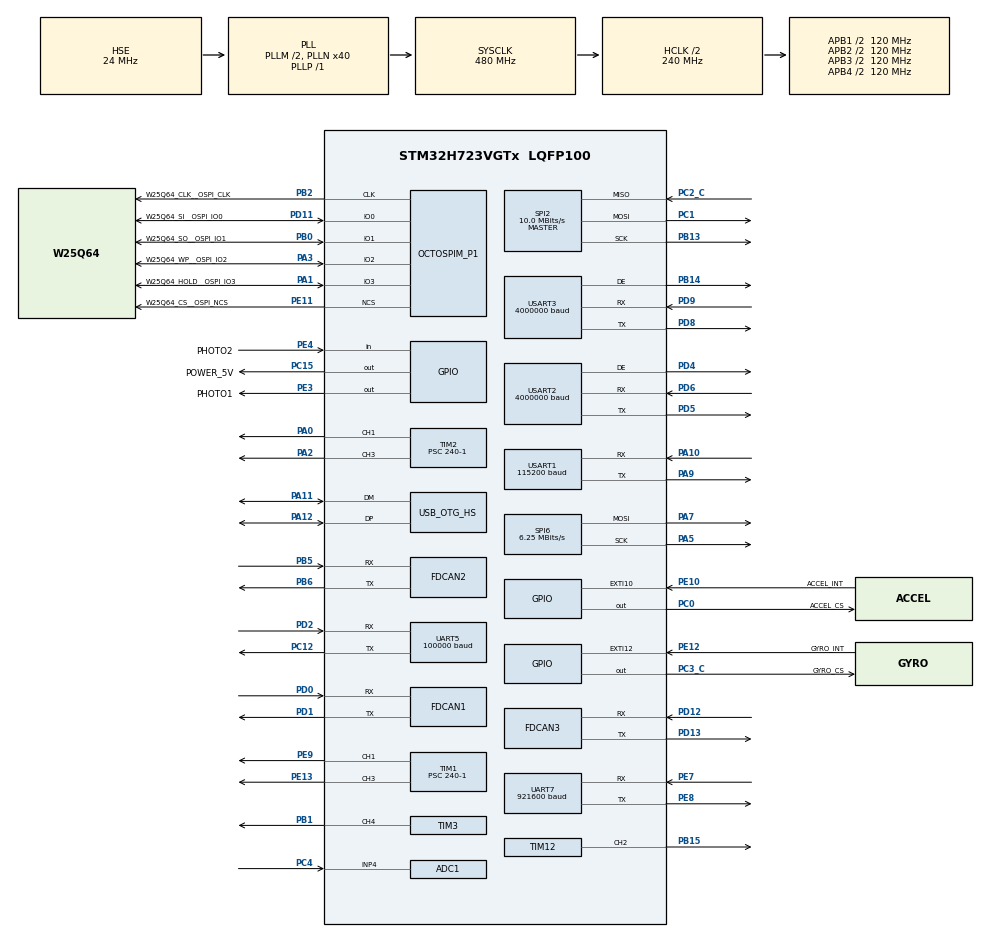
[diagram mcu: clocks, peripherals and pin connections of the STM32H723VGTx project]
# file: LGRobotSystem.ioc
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ADC1.Channel-2\#ChannelRegularConversion=ADC_CHANNEL_4
ADC1.Channel-3\#ChannelRegularConversion=ADC_CHANNEL_4
ADC1.ClockPrescaler=ADC_CLOCK_ASYNC_DIV64
ADC1.ClockPrescalerADC3=ADC_CLOCK_SYNC_PCLK_DIV4
ADC1.ContinuousConvMode=ENABLE
ADC1.ConversionDataManagement=ADC_CONVERSIONDATA_DMA_CIRCULAR
ADC1.NbrOfConversion=2
ADC1.NbrOfConversionFlag=1
ADC1.OffsetNumber-2\#ChannelRegularConversion=ADC_OFFSET_NONE
ADC1.OffsetNumber-3\#ChannelRegularConversion=ADC_OFFSET_NONE
ADC1.OffsetSignedSaturation-2\#ChannelRegularConversion=DISABLE
ADC1.OffsetSignedSaturation-3\#ChannelRegularConversion=DISABLE
ADC1.Rank-2\#ChannelRegularConversion=1
ADC1.Rank-3\#ChannelRegularConversion=2
ADC1.SamplingTime-2\#ChannelRegularConversion=ADC_SAMPLETIME_32CYCLES_5
ADC1.SamplingTime-3\#ChannelRegularConversion=ADC_SAMPLETIME_1CYCLE_5
ADC1.master=1
ADC3.Channel-0\#ChannelRegularConversion=ADC_CHANNEL_TEMPSENSOR
ADC3.ClockPrescalerADC3=ADC_CLOCK_SYNC_PCLK_DIV4
ADC3.DiscontinuousConvMode=ENABLE
ADC3.NbrOfConversionFlag=1
ADC3.OffsetNumber-0\#ChannelRegularConversion=ADC_OFFSET_NONE
ADC3.OffsetSign-0\#ChannelRegularConversion=ADC3_OFFSET_SIGN_NEGATIVE
ADC3.Rank-0\#ChannelRegularConversion=1
ADC3.SamplingTime-0\#ChannelRegularConversion=ADC3_SAMPLETIME_2CYCLES_5
Bdma.ADC3.0.Direction=DMA_PERIPH_TO_MEMORY
Bdma.ADC3.0.EventEnable=DISABLE
Bdma.ADC3.0.Instance=BDMA_Channel0
Bdma.ADC3.0.MemDataAlignment=DMA_MDATAALIGN_HALFWORD
Bdma.ADC3.0.MemInc=DMA_MINC_ENABLE
Bdma.ADC3.0.Mode=DMA_CIRCULAR
Bdma.ADC3.0.PeriphDataAlignment=DMA_PDATAALIGN_HALFWORD
Bdma.ADC3.0.PeriphInc=DMA_PINC_DISABLE
Bdma.ADC3.0.Polarity=HAL_DMAMUX_REQ_GEN_RISING
Bdma.ADC3.0.Priority=DMA_PRIORITY_LOW
Bdma.ADC3.0.RequestNumber=1
Bdma.ADC3.0.SignalID=NONE
Bdma.ADC3.0.SyncEnable=DISABLE
Bdma.ADC3.0.SyncPolarity=HAL_DMAMUX_SYNC_NO_EVENT
Bdma.ADC3.0.SyncRequestNumber=1
Bdma.ADC3.0.SyncSignalID=NONE
Bdma.Request0=ADC3
Bdma.Request1=SPI6_TX
Bdma.RequestsNb=2
Bdma.SPI6_TX.1.Direction=DMA_MEMORY_TO_PERIPH
Bdma.SPI6_TX.1.EventEnable=DISABLE
Bdma.SPI6_TX.1.Instance=BDMA_Channel1
Bdma.SPI6_TX.1.MemDataAlignment=DMA_MDATAALIGN_BYTE
Bdma.SPI6_TX.1.MemInc=DMA_MINC_ENABLE
Bdma.SPI6_TX.1.Mode=DMA_NORMAL
Bdma.SPI6_TX.1.PeriphDataAlignment=DMA_PDATAALIGN_BYTE
Bdma.SPI6_TX.1.PeriphInc=DMA_PINC_DISABLE
Bdma.SPI6_TX.1.Polarity=HAL_DMAMUX_REQ_GEN_RISING
Bdma.SPI6_TX.1.Priority=DMA_PRIORITY_LOW
Bdma.SPI6_TX.1.RequestNumber=1
Bdma.SPI6_TX.1.SignalID=NONE
Bdma.SPI6_TX.1.SyncEnable=DISABLE
Bdma.SPI6_TX.1.SyncPolarity=HAL_DMAMUX_SYNC_NO_EVENT
Bdma.SPI6_TX.1.SyncRequestNumber=1
Bdma.SPI6_TX.1.SyncSignalID=NONE
CORTEX_M7.AccessPermission-Cortex_Memory_Protection_Unit_Region0_Settings=MPU_REGION_FULL_ACCESS
CORTEX_M7.AccessPermission_S-Cortex_Memory_Protection_Unit_Region1_Settings_S=MPU_REGION_FULL_ACCESS
CORTEX_M7.AccessPermission_Spec=MPU_REGION_FULL_ACCESS
CORTEX_M7.BaseAddress-Cortex_Memory_Protection_Unit_Region0_Settings=0x24000000
CORTEX_M7.BaseAddress_S-Cortex_Memory_Protection_Unit_Region1_Settings_S=0x70000000 
CORTEX_M7.BaseAddress_Spec=0x24000000
CORTEX_M7.CPU_DCache=Enabled
CORTEX_M7.CPU_ICache=Enabled
CORTEX_M7.DisableExec_Spec=MPU_INSTRUCTION_ACCESS_ENABLE
CORTEX_M7.Enable-Cortex_Memory_Protection_Unit_Region0_Settings=MPU_REGION_ENABLE
CORTEX_M7.Enable_S-Cortex_Memory_Protection_Unit_Region1_Settings_S=MPU_REGION_ENABLE
CORTEX_M7.IsBufferable_Spec=MPU_ACCESS_NOT_BUFFERABLE
CORTEX_M7.IsCacheable_Spec=MPU_ACCESS_NOT_CACHEABLE
CORTEX_M7.IsShareable_Spec=MPU_ACCESS_NOT_SHAREABLE
CORTEX_M7.MPU_Control=MPU_HFNMI_PRIVDEF
CORTEX_M7.Size-Cortex_Memory_Protection_Unit_Region0_Settings=MPU_REGION_SIZE_512KB
CORTEX_M7.Size_S-Cortex_Memory_Protection_Unit_Region1_Settings_S=MPU_REGION_SIZE_256MB
CORTEX_M7.Size_Spec=MPU_REGION_SIZE_512KB
CORTEX_M7.SubRegionDisable_Spec=0x0
CORTEX_M7.TypeExtField-Cortex_Memory_Protection_Unit_Region0_Settings=MPU_TEX_LEVEL1
CORTEX_M7.TypeExtField_S-Cortex_Memory_Protection_Unit_Region1_Settings_S=MPU_TEX_LEVEL1
CORTEX_M7.TypeExtField_Spec=MPU_TEX_LEVEL1
CORTEX_M7.default_mode_Activation=1
Dma.ADC1.12.Direction=DMA_PERIPH_TO_MEMORY
Dma.ADC1.12.EventEnable=DISABLE
Dma.ADC1.12.FIFOMode=DMA_FIFOMODE_DISABLE
Dma.ADC1.12.Instance=DMA2_Stream6
Dma.ADC1.12.MemDataAlignment=DMA_MDATAALIGN_HALFWORD
Dma.ADC1.12.MemInc=DMA_MINC_ENABLE
Dma.ADC1.12.Mode=DMA_CIRCULAR
Dma.ADC1.12.PeriphDataAlignment=DMA_PDATAALIGN_HALFWORD
Dma.ADC1.12.PeriphInc=DMA_PINC_DISABLE
Dma.ADC1.12.Polarity=HAL_DMAMUX_REQ_GEN_RISING
Dma.ADC1.12.Priority=DMA_PRIORITY_LOW
Dma.ADC1.12.RequestNumber=1
Dma.ADC1.12.SignalID=NONE
Dma.ADC1.12.SyncEnable=DISABLE
Dma.ADC1.12.SyncPolarity=HAL_DMAMUX_SYNC_NO_EVENT
Dma.ADC1.12.SyncRequestNumber=1
Dma.ADC1.12.SyncSignalID=NONE
Dma.MEMTOMEM.11.Direction=DMA_MEMORY_TO_MEMORY
Dma.MEMTOMEM.11.EventEnable=DISABLE
Dma.MEMTOMEM.11.FIFOMode=DMA_FIFOMODE_ENABLE
Dma.MEMTOMEM.11.FIFOThreshold=DMA_FIFO_THRESHOLD_FULL
Dma.MEMTOMEM.11.Instance=DMA1_Stream0
Dma.MEMTOMEM.11.MemBurst=DMA_MBURST_SINGLE
Dma.MEMTOMEM.11.MemDataAlignment=DMA_MDATAALIGN_BYTE
Dma.MEMTOMEM.11.MemInc=DMA_MINC_ENABLE
Dma.MEMTOMEM.11.Mode=DMA_NORMAL
Dma.MEMTOMEM.11.PeriphBurst=DMA_PBURST_SINGLE
Dma.MEMTOMEM.11.PeriphDataAlignment=DMA_PDATAALIGN_BYTE
Dma.MEMTOMEM.11.PeriphInc=DMA_PINC_ENABLE
Dma.MEMTOMEM.11.Polarity=HAL_DMAMUX_REQ_GEN_RISING
Dma.MEMTOMEM.11.Priority=DMA_PRIORITY_LOW
Dma.MEMTOMEM.11.RequestNumber=1
Dma.MEMTOMEM.11.SignalID=NONE
Dma.MEMTOMEM.11.SyncEnable=DISABLE
Dma.MEMTOMEM.11.SyncPolarity=HAL_DMAMUX_SYNC_NO_EVENT
Dma.MEMTOMEM.11.SyncRequestNumber=1
Dma.MEMTOMEM.11.SyncSignalID=NONE
Dma.Request0=UART5_RX
Dma.Request1=SPI2_RX
Dma.Request10=USART3_TX
Dma.Request11=MEMTOMEM
Dma.Request12=ADC1
Dma.Request2=SPI2_TX
Dma.Request3=UART7_RX
Dma.Request4=UART7_TX
Dma.Request5=USART1_RX
Dma.Request6=USART1_TX
Dma.Request7=USART2_RX
Dma.Request8=USART2_TX
Dma.Request9=USART3_RX
Dma.SPI2_RX.1.Direction=DMA_PERIPH_TO_MEMORY
Dma.SPI2_RX.1.EventEnable=DISABLE
Dma.SPI2_RX.1.FIFOMode=DMA_FIFOMODE_DISABLE
Dma.SPI2_RX.1.Instance=DMA1_Stream1
Dma.SPI2_RX.1.MemDataAlignment=DMA_MDATAALIGN_BYTE
Dma.SPI2_RX.1.MemInc=DMA_MINC_ENABLE
Dma.SPI2_RX.1.Mode=DMA_NORMAL
Dma.SPI2_RX.1.PeriphDataAlignment=DMA_PDATAALIGN_BYTE
Dma.SPI2_RX.1.PeriphInc=DMA_PINC_DISABLE
Dma.SPI2_RX.1.Polarity=HAL_DMAMUX_REQ_GEN_RISING
Dma.SPI2_RX.1.Priority=DMA_PRIORITY_VERY_HIGH
Dma.SPI2_RX.1.RequestNumber=1
Dma.SPI2_RX.1.SignalID=NONE
Dma.SPI2_RX.1.SyncEnable=DISABLE
Dma.SPI2_RX.1.SyncPolarity=HAL_DMAMUX_SYNC_NO_EVENT
Dma.SPI2_RX.1.SyncRequestNumber=1
Dma.SPI2_RX.1.SyncSignalID=NONE
Dma.SPI2_TX.2.Direction=DMA_MEMORY_TO_PERIPH
Dma.SPI2_TX.2.EventEnable=DISABLE
Dma.SPI2_TX.2.FIFOMode=DMA_FIFOMODE_DISABLE
Dma.SPI2_TX.2.Instance=DMA1_Stream2
Dma.SPI2_TX.2.MemDataAlignment=DMA_MDATAALIGN_BYTE
Dma.SPI2_TX.2.MemInc=DMA_MINC_ENABLE
Dma.SPI2_TX.2.Mode=DMA_NORMAL
Dma.SPI2_TX.2.PeriphDataAlignment=DMA_PDATAALIGN_BYTE
Dma.SPI2_TX.2.PeriphInc=DMA_PINC_DISABLE
Dma.SPI2_TX.2.Polarity=HAL_DMAMUX_REQ_GEN_RISING
Dma.SPI2_TX.2.Priority=DMA_PRIORITY_MEDIUM
Dma.SPI2_TX.2.RequestNumber=1
Dma.SPI2_TX.2.SignalID=NONE
Dma.SPI2_TX.2.SyncEnable=DISABLE
Dma.SPI2_TX.2.SyncPolarity=HAL_DMAMUX_SYNC_NO_EVENT
Dma.SPI2_TX.2.SyncRequestNumber=1
Dma.SPI2_TX.2.SyncSignalID=NONE
Dma.UART5_RX.0.Direction=DMA_PERIPH_TO_MEMORY
Dma.UART5_RX.0.EventEnable=DISABLE
Dma.UART5_RX.0.FIFOMode=DMA_FIFOMODE_DISABLE
Dma.UART5_RX.0.Instance=DMA2_Stream3
Dma.UART5_RX.0.MemDataAlignment=DMA_MDATAALIGN_BYTE
Dma.UART5_RX.0.MemInc=DMA_MINC_ENABLE
Dma.UART5_RX.0.Mode=DMA_CIRCULAR
Dma.UART5_RX.0.PeriphDataAlignment=DMA_PDATAALIGN_BYTE
Dma.UART5_RX.0.PeriphInc=DMA_PINC_DISABLE
Dma.UART5_RX.0.Polarity=HAL_DMAMUX_REQ_GEN_RISING
Dma.UART5_RX.0.Priority=DMA_PRIORITY_VERY_HIGH
Dma.UART5_RX.0.RequestNumber=1
Dma.UART5_RX.0.SignalID=NONE
Dma.UART5_RX.0.SyncEnable=DISABLE
Dma.UART5_RX.0.SyncPolarity=HAL_DMAMUX_SYNC_NO_EVENT
Dma.UART5_RX.0.SyncRequestNumber=1
Dma.UART5_RX.0.SyncSignalID=NONE
Dma.UART7_RX.3.Direction=DMA_PERIPH_TO_MEMORY
Dma.UART7_RX.3.EventEnable=DISABLE
Dma.UART7_RX.3.FIFOMode=DMA_FIFOMODE_DISABLE
Dma.UART7_RX.3.Instance=DMA1_Stream3
Dma.UART7_RX.3.MemDataAlignment=DMA_MDATAALIGN_BYTE
Dma.UART7_RX.3.MemInc=DMA_MINC_ENABLE
Dma.UART7_RX.3.Mode=DMA_CIRCULAR
Dma.UART7_RX.3.PeriphDataAlignment=DMA_PDATAALIGN_BYTE
Dma.UART7_RX.3.PeriphInc=DMA_PINC_DISABLE
Dma.UART7_RX.3.Polarity=HAL_DMAMUX_REQ_GEN_RISING
Dma.UART7_RX.3.Priority=DMA_PRIORITY_LOW
Dma.UART7_RX.3.RequestNumber=1
Dma.UART7_RX.3.SignalID=NONE
Dma.UART7_RX.3.SyncEnable=DISABLE
Dma.UART7_RX.3.SyncPolarity=HAL_DMAMUX_SYNC_NO_EVENT
Dma.UART7_RX.3.SyncRequestNumber=1
Dma.UART7_RX.3.SyncSignalID=NONE
Dma.UART7_TX.4.Direction=DMA_MEMORY_TO_PERIPH
Dma.UART7_TX.4.EventEnable=DISABLE
Dma.UART7_TX.4.FIFOMode=DMA_FIFOMODE_DISABLE
Dma.UART7_TX.4.Instance=DMA1_Stream4
Dma.UART7_TX.4.MemDataAlignment=DMA_MDATAALIGN_BYTE
Dma.UART7_TX.4.MemInc=DMA_MINC_ENABLE
Dma.UART7_TX.4.Mode=DMA_NORMAL
Dma.UART7_TX.4.PeriphDataAlignment=DMA_PDATAALIGN_BYTE
Dma.UART7_TX.4.PeriphInc=DMA_PINC_DISABLE
Dma.UART7_TX.4.Polarity=HAL_DMAMUX_REQ_GEN_RISING
Dma.UART7_TX.4.Priority=DMA_PRIORITY_LOW
Dma.UART7_TX.4.RequestNumber=1
Dma.UART7_TX.4.SignalID=NONE
Dma.UART7_TX.4.SyncEnable=DISABLE
Dma.UART7_TX.4.SyncPolarity=HAL_DMAMUX_SYNC_NO_EVENT
Dma.UART7_TX.4.SyncRequestNumber=1
Dma.UART7_TX.4.SyncSignalID=NONE
Dma.USART1_RX.5.Direction=DMA_PERIPH_TO_MEMORY
Dma.USART1_RX.5.EventEnable=DISABLE
Dma.USART1_RX.5.FIFOMode=DMA_FIFOMODE_DISABLE
Dma.USART1_RX.5.Instance=DMA1_Stream5
Dma.USART1_RX.5.MemDataAlignment=DMA_MDATAALIGN_BYTE
Dma.USART1_RX.5.MemInc=DMA_MINC_ENABLE
Dma.USART1_RX.5.Mode=DMA_NORMAL
Dma.USART1_RX.5.PeriphDataAlignment=DMA_PDATAALIGN_BYTE
Dma.USART1_RX.5.PeriphInc=DMA_PINC_DISABLE
Dma.USART1_RX.5.Polarity=HAL_DMAMUX_REQ_GEN_RISING
Dma.USART1_RX.5.Priority=DMA_PRIORITY_VERY_HIGH
Dma.USART1_RX.5.RequestNumber=1
Dma.USART1_RX.5.SignalID=NONE
Dma.USART1_RX.5.SyncEnable=DISABLE
Dma.USART1_RX.5.SyncPolarity=HAL_DMAMUX_SYNC_NO_EVENT
Dma.USART1_RX.5.SyncRequestNumber=1
Dma.USART1_RX.5.SyncSignalID=NONE
Dma.USART1_TX.6.Direction=DMA_MEMORY_TO_PERIPH
Dma.USART1_TX.6.EventEnable=DISABLE
Dma.USART1_TX.6.FIFOMode=DMA_FIFOMODE_DISABLE
Dma.USART1_TX.6.Instance=DMA1_Stream6
Dma.USART1_TX.6.MemDataAlignment=DMA_MDATAALIGN_BYTE
Dma.USART1_TX.6.MemInc=DMA_MINC_ENABLE
Dma.USART1_TX.6.Mode=DMA_NORMAL
Dma.USART1_TX.6.PeriphDataAlignment=DMA_PDATAALIGN_BYTE
Dma.USART1_TX.6.PeriphInc=DMA_PINC_DISABLE
Dma.USART1_TX.6.Polarity=HAL_DMAMUX_REQ_GEN_RISING
Dma.USART1_TX.6.Priority=DMA_PRIORITY_VERY_HIGH
Dma.USART1_TX.6.RequestNumber=1
Dma.USART1_TX.6.SignalID=NONE
Dma.USART1_TX.6.SyncEnable=DISABLE
Dma.USART1_TX.6.SyncPolarity=HAL_DMAMUX_SYNC_NO_EVENT
Dma.USART1_TX.6.SyncRequestNumber=1
Dma.USART1_TX.6.SyncSignalID=NONE
Dma.USART2_RX.7.Direction=DMA_PERIPH_TO_MEMORY
Dma.USART2_RX.7.EventEnable=DISABLE
Dma.USART2_RX.7.FIFOMode=DMA_FIFOMODE_DISABLE
Dma.USART2_RX.7.Instance=DMA1_Stream7
Dma.USART2_RX.7.MemDataAlignment=DMA_MDATAALIGN_BYTE
Dma.USART2_RX.7.MemInc=DMA_MINC_ENABLE
Dma.USART2_RX.7.Mode=DMA_CIRCULAR
Dma.USART2_RX.7.PeriphDataAlignment=DMA_PDATAALIGN_BYTE
Dma.USART2_RX.7.PeriphInc=DMA_PINC_DISABLE
Dma.USART2_RX.7.Polarity=HAL_DMAMUX_REQ_GEN_RISING
Dma.USART2_RX.7.Priority=DMA_PRIORITY_MEDIUM
Dma.USART2_RX.7.RequestNumber=1
Dma.USART2_RX.7.SignalID=NONE
Dma.USART2_RX.7.SyncEnable=DISABLE
Dma.USART2_RX.7.SyncPolarity=HAL_DMAMUX_SYNC_NO_EVENT
Dma.USART2_RX.7.SyncRequestNumber=1
Dma.USART2_RX.7.SyncSignalID=NONE
Dma.USART2_TX.8.Direction=DMA_MEMORY_TO_PERIPH
Dma.USART2_TX.8.EventEnable=DISABLE
Dma.USART2_TX.8.FIFOMode=DMA_FIFOMODE_DISABLE
Dma.USART2_TX.8.Instance=DMA2_Stream0
Dma.USART2_TX.8.MemDataAlignment=DMA_MDATAALIGN_BYTE
Dma.USART2_TX.8.MemInc=DMA_MINC_ENABLE
Dma.USART2_TX.8.Mode=DMA_NORMAL
Dma.USART2_TX.8.PeriphDataAlignment=DMA_PDATAALIGN_BYTE
Dma.USART2_TX.8.PeriphInc=DMA_PINC_DISABLE
Dma.USART2_TX.8.Polarity=HAL_DMAMUX_REQ_GEN_RISING
Dma.USART2_TX.8.Priority=DMA_PRIORITY_MEDIUM
Dma.USART2_TX.8.RequestNumber=1
Dma.USART2_TX.8.SignalID=NONE
Dma.USART2_TX.8.SyncEnable=DISABLE
Dma.USART2_TX.8.SyncPolarity=HAL_DMAMUX_SYNC_NO_EVENT
Dma.USART2_TX.8.SyncRequestNumber=1
Dma.USART2_TX.8.SyncSignalID=NONE
Dma.USART3_RX.9.Direction=DMA_PERIPH_TO_MEMORY
Dma.USART3_RX.9.EventEnable=DISABLE
Dma.USART3_RX.9.FIFOMode=DMA_FIFOMODE_DISABLE
Dma.USART3_RX.9.Instance=DMA2_Stream1
Dma.USART3_RX.9.MemDataAlignment=DMA_MDATAALIGN_BYTE
Dma.USART3_RX.9.MemInc=DMA_MINC_ENABLE
Dma.USART3_RX.9.Mode=DMA_CIRCULAR
Dma.USART3_RX.9.PeriphDataAlignment=DMA_PDATAALIGN_BYTE
Dma.USART3_RX.9.PeriphInc=DMA_PINC_DISABLE
Dma.USART3_RX.9.Polarity=HAL_DMAMUX_REQ_GEN_RISING
Dma.USART3_RX.9.Priority=DMA_PRIORITY_MEDIUM
Dma.USART3_RX.9.RequestNumber=1
Dma.USART3_RX.9.SignalID=NONE
Dma.USART3_RX.9.SyncEnable=DISABLE
Dma.USART3_RX.9.SyncPolarity=HAL_DMAMUX_SYNC_NO_EVENT
Dma.USART3_RX.9.SyncRequestNumber=1
Dma.USART3_RX.9.SyncSignalID=NONE
Dma.USART3_TX.10.Direction=DMA_MEMORY_TO_PERIPH
Dma.USART3_TX.10.EventEnable=DISABLE
Dma.USART3_TX.10.FIFOMode=DMA_FIFOMODE_DISABLE
Dma.USART3_TX.10.Instance=DMA2_Stream2
Dma.USART3_TX.10.MemDataAlignment=DMA_MDATAALIGN_BYTE
Dma.USART3_TX.10.MemInc=DMA_MINC_ENABLE
Dma.USART3_TX.10.Mode=DMA_NORMAL
Dma.USART3_TX.10.PeriphDataAlignment=DMA_PDATAALIGN_BYTE
Dma.USART3_TX.10.PeriphInc=DMA_PINC_DISABLE
Dma.USART3_TX.10.Polarity=HAL_DMAMUX_REQ_GEN_RISING
Dma.USART3_TX.10.Priority=DMA_PRIORITY_MEDIUM
Dma.USART3_TX.10.RequestNumber=1
Dma.USART3_TX.10.SignalID=NONE
Dma.USART3_TX.10.SyncEnable=DISABLE
Dma.USART3_TX.10.SyncPolarity=HAL_DMAMUX_SYNC_NO_EVENT
Dma.USART3_TX.10.SyncRequestNumber=1
Dma.USART3_TX.10.SyncSignalID=NONE
FDCAN1.AutoRetransmission=ENABLE
FDCAN1.CalculateBaudRateNominal=1000000
FDCAN1.CalculateTimeBitNominal=1000
FDCAN1.CalculateTimeQuantumNominal=25.0
FDCAN1.ClockCalibrationCCU=DISABLE
FDCAN1.DataPrescaler=3
FDCAN1.DataSyncJumpWidth=10
FDCAN1.DataTimeSeg1=29
FDCAN1.DataTimeSeg2=10
FDCAN1.ExtFiltersNbr=0
FDCAN1.FrameFormat=FDCAN_FRAME_CLASSIC
FDCAN1.NominalPrescaler=3
FDCAN1.NominalSyncJumpWidth=10
FDCAN1.NominalTimeSeg1=29
FDCAN1.NominalTimeSeg2=10
FDCAN1.ProtocolException=DISABLE
FDCAN1.RxBufferSize=FDCAN_DATA_BYTES_8
FDCAN1.RxFifo0ElmtSize=FDCAN_DATA_BYTES_8
FDCAN1.RxFifo0ElmtsNbr=16
FDCAN1.RxFifo1ElmtSize=FDCAN_DATA_BYTES_8
FDCAN1.StdFiltersNbr=1
FDCAN1.TransmitPause=DISABLE
FDCAN1.TxElmtSize=FDCAN_DATA_BYTES_8
FDCAN1.TxFifoQueueElmtsNbr=8
FDCAN1.TxFifoQueueMode=FDCAN_TX_FIFO_OPERATION
FDCAN2.AutoRetransmission=ENABLE
FDCAN2.CalculateBaudRateNominal=1000000
FDCAN2.CalculateTimeBitNominal=1000
FDCAN2.CalculateTimeQuantumNominal=25.0
FDCAN2.DataPrescaler=3
FDCAN2.DataSyncJumpWidth=10
FDCAN2.DataTimeSeg1=29
FDCAN2.DataTimeSeg2=10
FDCAN2.FrameFormat=FDCAN_FRAME_CLASSIC
FDCAN2.MessageRAMOffset=853
FDCAN2.NominalPrescaler=3
FDCAN2.NominalSyncJumpWidth=10
FDCAN2.NominalTimeSeg1=29
FDCAN2.NominalTimeSeg2=10
FDCAN2.ProtocolException=DISABLE
FDCAN2.RxFifo0ElmtsNbr=0
FDCAN2.RxFifo1ElmtsNbr=16
FDCAN2.StdFiltersNbr=1
FDCAN2.TxFifoQueueElmtsNbr=8
FDCAN3.AutoRetransmission=ENABLE
FDCAN3.CalculateBaudRateNominal=1000000
FDCAN3.CalculateTimeBitNominal=1000
FDCAN3.CalculateTimeQuantumNominal=25.0
FDCAN3.DataPrescaler=3
FDCAN3.DataSyncJumpWidth=10
FDCAN3.DataTimeSeg1=29
FDCAN3.DataTimeSeg2=10
FDCAN3.FrameFormat=FDCAN_FRAME_CLASSIC
FDCAN3.MessageRAMOffset=1706
FDCAN3.NominalPrescaler=3
FDCAN3.NominalSyncJumpWidth=10
FDCAN3.NominalTimeSeg1=29
FDCAN3.NominalTimeSeg2=10
FDCAN3.ProtocolException=DISABLE
FDCAN3.RxFifo0ElmtsNbr=16
FDCAN3.StdFiltersNbr=1
FDCAN3.TxFifoQueueElmtsNbr=8
FREERTOS.INCLUDE_vTaskDelayUntil=1
FREERTOS.Tasks01=defaultTask,0,1024,StartDefaultTask,Default,NULL,Dynamic,NULL,NULL
FREERTOS.configCHECK_FOR_STACK_OVERFLOW=2
FREERTOS.configENABLE_FPU=1
FREERTOS.configMAX_TASK_NAME_LEN=32
FREERTOS.configMINIMAL_STACK_SIZE=128
FREERTOS.configRECORD_STACK_HIGH_ADDRESS=1
FREERTOS.configTOTAL_HEAP_SIZE=32768
FREERTOS.configUSE_MALLOC_FAILED_HOOK=1
FREERTOS.configUSE_NEWLIB_REENTRANT=1
FREERTOS.configUSE_STATS_FORMATTING_FUNCTIONS=1
Mcu.Family=STM32H7
Mcu.Name=STM32H723VGTx
Mcu.Package=LQFP100
Mdma.MDMA_Channel0.OCTOSPI2_FIFO_TH.0.BlockCount=0
Mdma.MDMA_Channel0.OCTOSPI2_FIFO_TH.0.BlockDataLength=0
Mdma.MDMA_Channel0.OCTOSPI2_FIFO_TH.0.BufferTransferLength=1
Mdma.MDMA_Channel0.OCTOSPI2_FIFO_TH.0.CircularMode=MDMA_LINEAR_LIST
Mdma.MDMA_Channel0.OCTOSPI2_FIFO_TH.0.DataAlignment=MDMA_DATAALIGN_PACKENABLE
Mdma.MDMA_Channel0.OCTOSPI2_FIFO_TH.0.DestBlockAddressOffset=0
Mdma.MDMA_Channel0.OCTOSPI2_FIFO_TH.0.DestBurst=MDMA_DEST_BURST_SINGLE
Mdma.MDMA_Channel0.OCTOSPI2_FIFO_TH.0.DestDataSize=MDMA_DEST_DATASIZE_BYTE
Mdma.MDMA_Channel0.OCTOSPI2_FIFO_TH.0.DestinationInc=MDMA_DEST_INC_BYTE
Mdma.MDMA_Channel0.OCTOSPI2_FIFO_TH.0.DstAddress=0
Mdma.MDMA_Channel0.OCTOSPI2_FIFO_TH.0.Endianness=MDMA_LITTLE_ENDIANNESS_PRESERVE
Mdma.MDMA_Channel0.OCTOSPI2_FIFO_TH.0.Instance=MDMA_Channel0
Mdma.MDMA_Channel0.OCTOSPI2_FIFO_TH.0.MaskAddress=0
Mdma.MDMA_Channel0.OCTOSPI2_FIFO_TH.0.MaskData=0
Mdma.MDMA_Channel0.OCTOSPI2_FIFO_TH.0.Priority=MDMA_PRIORITY_LOW
Mdma.MDMA_Channel0.OCTOSPI2_FIFO_TH.0.Rank=First
Mdma.MDMA_Channel0.OCTOSPI2_FIFO_TH.0.SourceBlockAddressOffset=0
Mdma.MDMA_Channel0.OCTOSPI2_FIFO_TH.0.SourceBurst=MDMA_SOURCE_BURST_SINGLE
Mdma.MDMA_Channel0.OCTOSPI2_FIFO_TH.0.SourceDataSize=MDMA_SRC_DATASIZE_BYTE
Mdma.MDMA_Channel0.OCTOSPI2_FIFO_TH.0.SourceInc=MDMA_SRC_INC_BYTE
Mdma.MDMA_Channel0.OCTOSPI2_FIFO_TH.0.SrcAddress=0
Mdma.MDMA_Channel0.OCTOSPI2_FIFO_TH.0.TransferTriggerMode=MDMA_BUFFER_TRANSFER
Mdma.MDMA_Channel0.Request0=OCTOSPI2_FIFO_TH
Mdma.MDMA_Channel0.RequestsNb=1
Mdma.RequestSet0=MDMA_Channel0
Mdma.RequestSetsNb=1
NVIC.BDMA_Channel0_IRQn=true\:5\:0\:false\:false\:true\:true\:false\:true\:true
NVIC.BDMA_Channel1_IRQn=true\:5\:0\:false\:false\:true\:true\:false\:true\:true
NVIC.DMA1_Stream0_IRQn=true\:5\:0\:false\:false\:true\:true\:false\:true\:true
NVIC.DMA1_Stream1_IRQn=true\:5\:0\:false\:false\:true\:true\:false\:true\:true
NVIC.DMA1_Stream2_IRQn=true\:5\:0\:false\:false\:true\:true\:false\:true\:true
NVIC.DMA1_Stream3_IRQn=true\:5\:0\:false\:false\:true\:true\:false\:true\:true
NVIC.DMA1_Stream4_IRQn=true\:5\:0\:false\:false\:true\:true\:false\:true\:true
NVIC.DMA1_Stream5_IRQn=true\:5\:0\:false\:false\:true\:true\:false\:true\:true
NVIC.DMA1_Stream6_IRQn=true\:5\:0\:false\:false\:true\:true\:false\:true\:true
NVIC.DMA1_Stream7_IRQn=true\:5\:0\:false\:false\:true\:true\:false\:true\:true
NVIC.DMA2_Stream0_IRQn=true\:5\:0\:false\:false\:true\:true\:false\:true\:true
NVIC.DMA2_Stream1_IRQn=true\:5\:0\:false\:false\:true\:true\:false\:true\:true
NVIC.DMA2_Stream2_IRQn=true\:5\:0\:false\:false\:true\:true\:false\:true\:true
NVIC.DMA2_Stream3_IRQn=true\:5\:0\:false\:false\:true\:true\:false\:true\:true
NVIC.DMA2_Stream6_IRQn=true\:5\:0\:false\:false\:true\:true\:false\:true\:true
NVIC.FDCAN1_IT0_IRQn=true\:5\:0\:false\:false\:true\:true\:true\:true\:true
NVIC.FDCAN1_IT1_IRQn=true\:5\:0\:false\:false\:true\:true\:true\:true\:true
NVIC.FDCAN2_IT0_IRQn=true\:5\:0\:false\:false\:true\:true\:true\:true\:true
NVIC.FDCAN2_IT1_IRQn=true\:5\:0\:false\:false\:true\:true\:true\:true\:true
NVIC.FDCAN3_IT0_IRQn=true\:5\:0\:false\:false\:true\:true\:true\:true\:true
NVIC.FDCAN3_IT1_IRQn=true\:5\:0\:false\:false\:true\:true\:true\:true\:true
NVIC.MDMA_IRQn=true\:5\:0\:false\:false\:true\:true\:false\:true\:true
NVIC.OCTOSPI2_IRQn=true\:5\:0\:false\:false\:true\:true\:true\:true\:true
NVIC.OTG_HS_IRQn=true\:5\:0\:false\:false\:true\:true\:true\:true\:true
NVIC.PriorityGroup=NVIC_PRIORITYGROUP_4
NVIC.SPI2_IRQn=true\:5\:0\:true\:false\:true\:true\:false\:true\:true
NVIC.SPI6_IRQn=true\:5\:0\:false\:false\:true\:true\:true\:true\:true
NVIC.TIM4_IRQn=true\:15\:0\:false\:false\:true\:false\:false\:true\:true
NVIC.TimeBase=TIM4_IRQn
NVIC.TimeBaseIP=TIM4
NVIC.UART5_IRQn=true\:5\:0\:false\:false\:true\:true\:true\:true\:true
NVIC.UART7_IRQn=true\:5\:0\:false\:false\:true\:true\:true\:true\:true
NVIC.USART1_IRQn=true\:5\:0\:false\:false\:true\:true\:true\:true\:true
NVIC.USART2_IRQn=true\:5\:0\:false\:false\:true\:true\:true\:true\:true
NVIC.USART3_IRQn=true\:5\:0\:false\:false\:true\:true\:true\:true\:true
OCTOSPI2.ClockMode=HAL_OSPI_CLOCK_MODE_3
OCTOSPI2.ClockPrescaler=2
OCTOSPI2.DeviceSize=23
OCTOSPI2.FifoThreshold=1
OCTOSPI2.SampleShifting=HAL_OSPI_SAMPLE_SHIFTING_HALFCYCLE
PA0.Signal=S_TIM2_CH1_ETR
PA1.GPIO_Label=W25Q64_HOLD__OSPI_IO3
PA1.Mode=OCTOSPI2_IOL_Port1L
PA1.Signal=OCTOSPIM_P1_IO3
PA10.Mode=Asynchronous
PA10.Signal=USART1_RX
PA11.Mode=Device_Only_FS
PA11.Signal=USB_OTG_HS_DM
PA12.Mode=Device_Only_FS
PA12.Signal=USB_OTG_HS_DP
PA13(JTMS/SWDIO).Mode=Serial_Wire
PA13(JTMS/SWDIO).Signal=DEBUG_JTMS-SWDIO
PA14(JTCK/SWCLK).Mode=Serial_Wire
PA14(JTCK/SWCLK).Signal=DEBUG_JTCK-SWCLK
PA2.Signal=S_TIM2_CH3
PA3.GPIO_Label=W25Q64_WP__OSPI_IO2
PA3.Mode=OCTOSPI2_IOL_Port1L
PA3.Signal=OCTOSPIM_P1_IO2
PA5.Mode=TX_Only_Simplex_Unidirect_Master
PA5.Signal=SPI6_SCK
PA7.Mode=TX_Only_Simplex_Unidirect_Master
PA7.Signal=SPI6_MOSI
PA9.Mode=Asynchronous
PA9.Signal=USART1_TX
PB0.GPIO_Label=W25Q64_SO__OSPI_IO1
PB0.Mode=OCTOSPI2_IOL_Port1L
PB0.Signal=OCTOSPIM_P1_IO1
PB1.Signal=S_TIM3_CH4
PB13.GPIO_Speed=GPIO_SPEED_FREQ_VERY_HIGH
PB13.Mode=Full_Duplex_Master
PB13.Signal=SPI2_SCK
PB14.Mode=Hardware Flow Control (RS485)
PB14.Signal=USART3_DE
PB15.Signal=S_TIM12_CH2
PB2.GPIO_Label=W25Q64_CLK__OSPI_CLK
PB2.Mode=O2_P1_CLK
PB2.Signal=OCTOSPIM_P1_CLK
PB5.Mode=FDCAN_Activate
PB5.Signal=FDCAN2_RX
PB6.GPIO_FM6=__NULL
PB6.Mode=FDCAN_Activate
PB6.Signal=FDCAN2_TX
PC0.GPIO_Label=ACCEL_CS
PC0.GPIO_PuPd=GPIO_NOPULL
PC0.GPIO_Speed=GPIO_SPEED_FREQ_MEDIUM
PC0.PinState=GPIO_PIN_SET
PC0.Signal=GPIO_Output
PC1.GPIO_Speed=GPIO_SPEED_FREQ_VERY_HIGH
PC1.Mode=Full_Duplex_Master
PC1.Signal=SPI2_MOSI
PC12.Mode=Asynchronous
PC12.Signal=UART5_TX
PC15-OSC32_OUT.GPIO_Label=POWER_5V
PC15-OSC32_OUT.Signal=GPIO_Output
PC15-OSC32_OUT.PinState=GPIO_PIN_SET
PC2_C.GPIO_Speed=GPIO_SPEED_FREQ_VERY_HIGH
PC2_C.Mode=Full_Duplex_Master
PC2_C.Signal=SPI2_MISO
PC3_C.GPIO_Label=GYRO_CS
PC3_C.GPIO_PuPd=GPIO_NOPULL
PC3_C.GPIO_Speed=GPIO_SPEED_FREQ_MEDIUM
PC3_C.PinState=GPIO_PIN_SET
PC3_C.Signal=GPIO_Output
PC4.Signal=ADCx_INP4
PD0.Mode=FDCAN_Activate
PD0.Signal=FDCAN1_RX
PD1.Mode=FDCAN_Activate
PD1.Signal=FDCAN1_TX
PD11.GPIO_Label=W25Q64_SI__OSPI_IO0
PD11.Mode=OCTOSPI2_IOL_Port1L
PD11.Signal=OCTOSPIM_P1_IO0
PD12.Mode=FDCAN_Activate
PD12.Signal=FDCAN3_RX
PD13.Mode=FDCAN_Activate
PD13.Signal=FDCAN3_TX
PD2.GPIO_Speed=GPIO_SPEED_FREQ_VERY_HIGH
PD2.Mode=Asynchronous
PD2.Signal=UART5_RX
PD4.Mode=Hardware Flow Control (RS485)
PD4.Signal=USART2_DE
PD5.Mode=Asynchronous
PD5.Signal=USART2_TX
PD6.Mode=Asynchronous
PD6.Signal=USART2_RX
PD8.Mode=Asynchronous
PD8.Signal=USART3_TX
PD9.Mode=Asynchronous
PD9.Signal=USART3_RX
PE10.GPIO_Label=ACCEL_INT
PE10.GPIO_PuPd=GPIO_NOPULL
PE10.Signal=GPXTI10
PE11.GPIO_Label=W25Q64_CS__OSPI_NCS
PE11.Mode=OCTOSPI2_Port1_NCS
PE11.Signal=OCTOSPIM_P1_NCS
PE12.GPIO_Label=GYRO_INT
PE12.GPIO_PuPd=GPIO_NOPULL
PE12.Signal=GPXTI12
PE13.Signal=S_TIM1_CH3
PE3.GPIO_Label=PHOTO1
PE3.GPIO_PuPd=GPIO_PULLUP
PE3.Signal=GPIO_Output
PE4.GPIO_Label=PHOTO2
PE4.GPIO_PuPd=GPIO_PULLUP
PE4.Signal=GPIO_Input
PE7.Mode=Asynchronous
PE7.Signal=UART7_RX
PE8.Mode=Asynchronous
PE8.Signal=UART7_TX
PE9.Signal=S_TIM1_CH1
PH0-OSC_IN.Mode=HSE-External-Oscillator
PH0-OSC_IN.Signal=RCC_OSC_IN
PH1-OSC_OUT.Mode=HSE-External-Oscillator
PH1-OSC_OUT.Signal=RCC_OSC_OUT
ProjectManager.HeapSize=0x20000
ProjectManager.StackSize=0x10000
ProjectManager.TargetToolchain=STM32CubeIDE
RCC.ADCCLockSelection=RCC_ADCCLKSOURCE_CLKP
RCC.ADCFreq_Value=24000000
RCC.APB1Freq_Value=120000000
RCC.APB2Freq_Value=120000000
RCC.APB3Freq_Value=120000000
RCC.APB4Freq_Value=120000000
RCC.CKPERSourceSelection=RCC_CLKPSOURCE_HSE
RCC.CortexFreq_Value=480000000
RCC.D1PPRE=RCC_APB3_DIV2
RCC.D2PPRE1=RCC_APB1_DIV2
RCC.D2PPRE2=RCC_APB2_DIV2
RCC.D3PPRE=RCC_APB4_DIV2
RCC.DIVM1=2
RCC.DIVM2=12
RCC.DIVM3=24
RCC.DIVN1=40
RCC.DIVN2=100
RCC.DIVN3=160
RCC.DIVP1=1
RCC.DIVQ1=4
RCC.DIVQ2=4
RCC.EnbaleCSS=false
RCC.FLatency-AdvancedSettings=FLASH_LATENCY_3
RCC.HCLKFreq_Value=240000000
RCC.HPRE=RCC_HCLK_DIV2
RCC.HSE_VALUE=24000000
RCC.PLL1_VCI_Range-AdvancedSettings=RCC_PLL1VCIRANGE_0
RCC.PLL1_VCO_SEL-AdvancedSettings=RCC_PLL1VCOMEDIUM
RCC.PLL2FRACN=0
RCC.PLL2_VCO_SEL-AdvancedSettings=RCC_PLL2VCOWIDE
RCC.PLL3FRACN=0
RCC.PLL3_VCO_SEL-AdvancedSettings=RCC_PLL3VCOWIDE
RCC.PLLFRACN=0
RCC.PLLSourceVirtual=RCC_PLLSOURCE_HSE
RCC.SPI123CLockSelection=RCC_SPI123CLKSOURCE_PLL3
RCC.SPI6CLockSelection=RCC_SPI6CLKSOURCE_PLL2
RCC.SYSCLKFreq_VALUE=480000000
RCC.SYSCLKSource=RCC_SYSCLKSOURCE_PLLCLK
RCC.USBCLockSelection=RCC_USBCLKSOURCE_HSI48
RCC.USBFreq_Value=48000000
SH.ADCx_INP4.0=ADC1_INP4,IN4-Single-Ended
SH.S_TIM12_CH2.0=TIM12_CH2,PWM Generation2 CH2
SH.S_TIM1_CH1.0=TIM1_CH1,PWM Generation1 CH1
SH.S_TIM1_CH3.0=TIM1_CH3,PWM Generation3 CH3
SH.S_TIM2_CH1_ETR.0=TIM2_CH1,PWM Generation1 CH1
SH.S_TIM2_CH3.0=TIM2_CH3,PWM Generation3 CH3
SH.S_TIM3_CH4.0=TIM3_CH4,PWM Generation4 CH4
SPI2.BaudRatePrescaler=SPI_BAUDRATEPRESCALER_8
SPI2.CLKPhase=SPI_PHASE_2EDGE
SPI2.CLKPolarity=SPI_POLARITY_HIGH
SPI2.CalculateBaudRate=10.0 MBits/s
SPI2.DataSize=SPI_DATASIZE_8BIT
SPI2.Direction=SPI_DIRECTION_2LINES
SPI2.Mode=SPI_MODE_MASTER
SPI2.NSSPMode=SPI_NSS_PULSE_DISABLE
SPI2.VirtualType=VM_MASTER
SPI6.BaudRatePrescaler=SPI_BAUDRATEPRESCALER_8
SPI6.CalculateBaudRate=6.25 MBits/s
SPI6.DataSize=SPI_DATASIZE_8BIT
SPI6.Direction=SPI_DIRECTION_2LINES_TXONLY
SPI6.Mode=SPI_MODE_MASTER
SPI6.VirtualType=VM_MASTER
STMicroelectronics.X-CUBE-ALGOBUILD.1.4.0.LibraryCcDSPOoLibraryJjDSPOoLibrary=true
TIM1.AutoReloadPreload=TIM_AUTORELOAD_PRELOAD_ENABLE
TIM1.Channel-PWM\ Generation1\ CH1=TIM_CHANNEL_1
TIM1.Channel-PWM\ Generation3\ CH3=TIM_CHANNEL_3
TIM1.Period=10000-1
TIM1.Prescaler=240-1
TIM12.Channel-PWM\ Generation2\ CH2=TIM_CHANNEL_2
TIM12.Period=10000-1
TIM12.Prescaler=160-1
TIM2.AutoReloadPreload=TIM_AUTORELOAD_PRELOAD_ENABLE
TIM2.Channel-PWM\ Generation1\ CH1=TIM_CHANNEL_1
TIM2.Channel-PWM\ Generation3\ CH3=TIM_CHANNEL_3
TIM2.Period=10000-1
TIM2.Prescaler=240-1
TIM3.AutoReloadPreload=TIM_AUTORELOAD_PRELOAD_DISABLE
TIM3.Channel-PWM\ Generation4\ CH4=TIM_CHANNEL_4
TIM3.Period=10000-1
TIM3.Prescaler=240-1
TIM5.Period=3600000000-1
TIM5.Prescaler=240-1
UART5.BaudRate=100000
UART5.Parity=PARITY_EVEN
UART5.StopBits=UART_STOPBITS_2
UART5.WordLength=WORDLENGTH_9B
UART7.BaudRate=921600
USART1.BaudRate=115200
USART1.VirtualMode-Asynchronous=VM_ASYNC
USART2.BaudRate=4000000
USART2.OverSampling=UART_OVERSAMPLING_8
USART2.VirtualMode-Asynchronous=VM_ASYNC
USART2.VirtualMode-Hardware\ Flow\ Control\ (RS485)=VM_ASYNC
USART3.BaudRate=4000000
USART3.OverSampling=UART_OVERSAMPLING_8
USART3.VirtualMode-Asynchronous=VM_ASYNC
USART3.VirtualMode-Hardware\ Flow\ Control\ (RS485)=VM_ASYNC
USB_DEVICE.CLASS_NAME_HS=CDC
USB_DEVICE.VirtualMode=Cdc
USB_DEVICE.VirtualModeHS=Cdc_HS
USB_OTG_HS.VirtualMode-Device_Only_FS=Device_Only_FS
VP_ADC3_TempSens_Input.Mode=IN-TempSens
VP_ADC3_Vbat_Input.Mode=IN-Vbat
VP_ADC3_Vref_Input.Mode=IN-Vrefint
VP_FREERTOS_VS_CMSIS_V2.Mode=CMSIS_V2
VP_MEMORYMAP_VS_MEMORYMAP.Mode=CurAppReg
VP_OCTOSPI2_VS_quad.Mode=quad_mode
VP_STMicroelectronics.X-CUBE-ALGOBUILD_VS_DSPOoLibraryJjLibrary_1.4.0_1.4.0.Mode=DSPOoLibraryJjLibrary
VP_SYS_VS_tim4.Mode=TIM4
VP_TIM12_VS_ClockSourceINT.Mode=Internal
VP_TIM5_VS_ClockSourceINT.Mode=Internal
VP_USB_DEVICE_VS_USB_DEVICE_CDC_HS.Mode=CDC_HS
board=custom

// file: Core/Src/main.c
/* USER CODE BEGIN Header */
/**
  ******************************************************************************
  * @file           : main.c
  * @brief          : Main program body
  ******************************************************************************
  * @attention
  *
  * Copyright (c) 2026 STMicroelectronics.
  * All rights reserved.
  *
  * This software is licensed under terms that can be found in the LICENSE file
  * in the root directory of this software component.
  * If no LICENSE file comes with this software, it is provided AS-IS.
  *
  ******************************************************************************
  */
/* USER CODE END Header */
#include "main.h"
#include "FreeRTOS.h"
#include "cmsis_os2.h"
#include "adc.h"
#include "bdma.h"
#include "dma.h"
#include "fdcan.h"
#include "mdma.h"
#include "octospi.h"
#include "spi.h"
#include "tim.h"
#include "usart.h"
#include "usb_device.h"
#include "gpio.h"

/* USER CODE BEGIN Includes */
#include "bsp_dwt.h"    /* DWT_Init() */
#include "robot.h"      /* Robot_Init() —— 机器人层唯一入口 */
#include "robot_def.h"  /* CHASSIS_PHOTO_ENABLE */
/* ⚠️ 本文件是 C 文件:只能包这种 C 兼容头,绝不能
                           include motor_XX/xxx.h 等 C++ 类头,否则报
                           unknown type name 'class' / 'motor_Control_mode' ...
                           (电机代码在 User/App/motor_task/,任务在 User/App/robot/) */
/* USER CODE END Includes */

/* USER CODE BEGIN PV */
/* 「错误现场」变量(声明在 main.h 的 USER CODE ET 段,说明也在那里)。
   调试时先看 g_fault_code:1=堆分配失败 2=任务栈溢出 3=Error_Handler 4=HardFault */
volatile uint32_t g_fault_code = 0u;
volatile const char *g_fault_task = 0;
volatile uint32_t g_fault_cfsr = 0u;
volatile uint32_t g_fault_hfsr = 0u;
volatile uint32_t g_fault_mmfar = 0u;
volatile uint32_t g_fault_bfar = 0u;
volatile uint32_t g_fault_psp = 0u;
volatile uint32_t g_fault_msp = 0u;
volatile uint32_t g_fault_pc_psp = 0u;
/* USER CODE END PV */

void SystemClock_Config(void);
void PeriphCommonClock_Config(void);
static void MPU_Config(void);
void MX_FREERTOS_Init(void);

int main(void)
{

  /* MPU Configuration--------------------------------------------------------*/
  MPU_Config();

  /* Enable the CPU Cache */

  /* Enable I-Cache---------------------------------------------------------*/
  SCB_EnableICache();

  /* Enable D-Cache---------------------------------------------------------*/
  SCB_EnableDCache();

  /* MCU Configuration--------------------------------------------------------*/

  /* Reset of all peripherals, Initializes the Flash interface and the Systick. */
  HAL_Init();

  /* Configure the system clock */
  SystemClock_Config();

  /* Configure the peripherals common clocks */
  PeriphCommonClock_Config();

  /* Initialize all configured peripherals */
  MX_GPIO_Init();
  MX_DMA_Init();
  MX_BDMA_Init();
  MX_MDMA_Init();
  MX_FDCAN1_Init();
  MX_FDCAN2_Init();
  MX_UART5_Init();
  MX_SPI2_Init();
  MX_TIM3_Init();
  MX_UART7_Init();
  MX_USART1_UART_Init();
  MX_USART2_UART_Init();
  MX_USART3_UART_Init();
  MX_FDCAN3_Init();
  /* 强制 FDCAN 内核时钟走 PLL1Q(480/4=120MHz);生成代码偶尔没把这个 mux 写进去 */
  __HAL_RCC_FDCAN_CONFIG(RCC_FDCANCLKSOURCE_PLL);
  MX_ADC3_Init();
  MX_ADC1_Init();
  MX_TIM1_Init();
  MX_TIM2_Init();
  MX_OCTOSPI2_Init();
  MX_TIM5_Init();
  MX_TIM12_Init();
  MX_SPI6_Init();
  /* USER CODE BEGIN 2 */
  /* ★ 采样 1:MX_OCTOSPI2_Init() 之后、Robot_Init() 之前的 OSPI 状态
     (1=READY 正常 ; 2/4 = 已经忙 ⇒ 问题在 main 里的初始化) */
  {
    extern volatile uint32_t flash_diag_raw;
    flash_diag_raw = (uint32_t)hospi2.State;
  }
  /* ==================== 本工程的启动顺序 ====================
   *   ① DWT_Init(0)      微秒级时间戳(DWT->CYCCNT,内核时钟)
   *                      —— 电机的发送频率调度靠它,必须最先起
   *   ② Robot_Init()     机器人层初始化(仿 basic_framework 的 RobotInit):
   *                        各 BSP(CAN 过滤器等)
   *                        → 各子系统 Init(电机 Init + 注册接收回调)
   *                      ⚠️ 建 RTOS 任务**不在这里** —— CMSIS-RTOS2 要求先
   *                         osKernelInitialize() 才能建线程,而本段在它之前;
   *                         建任务在下面 MX_FREERTOS_Init() 的 RTOS_THREADS 段
   *                         里由 OSTaskInit() 完成。
   *   ③ osKernelInitialize() / MX_FREERTOS_Init()  ← 内部:建任务
   *   ④ osKernelStart()  调度器接管,此后 main 里的代码不再执行
   * 任务的周期/优先级/栈在 User/App/robot/robot_def.h 里配。
   * ========================================================= */
  DWT_Init(0);
  Robot_Init();

  /* PC15 = POWER_5V(5V 使能脚):现在由 MX_GPIO_Init() 初始化成**高 = 打开**。
     改的是 LGRobotSystem.ioc 里 PC15-OSC32_OUT.PinState=GPIO_PIN_SET,
     所以重新生成代码也保持打开;Core/Src/gpio.c 已与 .ioc 一致。
     运行中要开/关:
         HAL_GPIO_WritePin(POWER_5V_GPIO_Port, POWER_5V_Pin, GPIO_PIN_SET);    //开 5V
         HAL_GPIO_WritePin(POWER_5V_GPIO_Port, POWER_5V_Pin, GPIO_PIN_RESET);  //关 5V
     ⚠️ 它是板上 **5V 输出使能**(达妙 DM-MC-Board02 手册:PC15 = Power_5V_EN,丝印 "5V EN"),
        关掉只切断 5V 输出那一路;板子自身 3.3V 逻辑(MCU/板载 IMU/CAN 收发器)不受影响。 */
  /* USER CODE END 2 */

  /* Init scheduler */
  osKernelInitialize();  /* Call init function for freertos objects (in cmsis_os2.c) */
  MX_FREERTOS_Init();

  /* Start scheduler */
  osKernelStart();

  /* We should never get here as control is now taken by the scheduler */

  /* Infinite loop */
  while (1)
  {

  }
}

void SystemClock_Config(void)
{
  RCC_OscInitTypeDef RCC_OscInitStruct = {0};
  RCC_ClkInitTypeDef RCC_ClkInitStruct = {0};

  /** Supply configuration update enable
  */
  HAL_PWREx_ConfigSupply(PWR_LDO_SUPPLY);

  /** Configure the main internal regulator output voltage
  */
  __HAL_PWR_VOLTAGESCALING_CONFIG(PWR_REGULATOR_VOLTAGE_SCALE0);

  while(!__HAL_PWR_GET_FLAG(PWR_FLAG_VOSRDY)) {}

  /** Initializes the RCC Oscillators according to the specified parameters
  * in the RCC_OscInitTypeDef structure.
  */
  RCC_OscInitStruct.OscillatorType = RCC_OSCILLATORTYPE_HSI48|RCC_OSCILLATORTYPE_HSE;
  RCC_OscInitStruct.HSEState = RCC_HSE_ON;
  RCC_OscInitStruct.HSI48State = RCC_HSI48_ON;
  RCC_OscInitStruct.PLL.PLLState = RCC_PLL_ON;
  RCC_OscInitStruct.PLL.PLLSource = RCC_PLLSOURCE_HSE;
  RCC_OscInitStruct.PLL.PLLM = 2;
  RCC_OscInitStruct.PLL.PLLN = 40;
  RCC_OscInitStruct.PLL.PLLP = 1;
  RCC_OscInitStruct.PLL.PLLQ = 4;
  RCC_OscInitStruct.PLL.PLLR = 2;
  RCC_OscInitStruct.PLL.PLLRGE = RCC_PLL1VCIRANGE_3;
  RCC_OscInitStruct.PLL.PLLVCOSEL = RCC_PLL1VCOWIDE;
  RCC_OscInitStruct.PLL.PLLFRACN = 0;
  if (HAL_RCC_OscConfig(&RCC_OscInitStruct) != HAL_OK)
  {
    Error_Handler();
  }

  /** Initializes the CPU, AHB and APB buses clocks
  */
  RCC_ClkInitStruct.ClockType = RCC_CLOCKTYPE_HCLK|RCC_CLOCKTYPE_SYSCLK
                              |RCC_CLOCKTYPE_PCLK1|RCC_CLOCKTYPE_PCLK2
                              |RCC_CLOCKTYPE_D3PCLK1|RCC_CLOCKTYPE_D1PCLK1;
  RCC_ClkInitStruct.SYSCLKSource = RCC_SYSCLKSOURCE_PLLCLK;
  RCC_ClkInitStruct.SYSCLKDivider = RCC_SYSCLK_DIV1;
  RCC_ClkInitStruct.AHBCLKDivider = RCC_HCLK_DIV2;
  RCC_ClkInitStruct.APB3CLKDivider = RCC_APB3_DIV2;
  RCC_ClkInitStruct.APB1CLKDivider = RCC_APB1_DIV2;
  RCC_ClkInitStruct.APB2CLKDivider = RCC_APB2_DIV2;
  RCC_ClkInitStruct.APB4CLKDivider = RCC_APB4_DIV2;

  if (HAL_RCC_ClockConfig(&RCC_ClkInitStruct, FLASH_LATENCY_3) != HAL_OK)
  {
    Error_Handler();
  }
}

void PeriphCommonClock_Config(void)
{
  RCC_PeriphCLKInitTypeDef PeriphClkInitStruct = {0};

  /** Initializes the peripherals clock
  */
  PeriphClkInitStruct.PeriphClockSelection = RCC_PERIPHCLK_CKPER;
  PeriphClkInitStruct.CkperClockSelection = RCC_CLKPSOURCE_HSE;
  if (HAL_RCCEx_PeriphCLKConfig(&PeriphClkInitStruct) != HAL_OK)
  {
    Error_Handler();
  }
}

 /* MPU Configuration */

void MPU_Config(void)
{
  MPU_Region_InitTypeDef MPU_InitStruct = {0};

  /* Disables the MPU */
  HAL_MPU_Disable();

  /** Initializes and configures the Region and the memory to be protected
  */
  MPU_InitStruct.Enable = MPU_REGION_ENABLE;
  MPU_InitStruct.Number = MPU_REGION_NUMBER0;
  MPU_InitStruct.BaseAddress = 0x24000000;
  MPU_InitStruct.Size = MPU_REGION_SIZE_512KB;
  MPU_InitStruct.SubRegionDisable = 0x0;
  MPU_InitStruct.TypeExtField = MPU_TEX_LEVEL1;
  MPU_InitStruct.AccessPermission = MPU_REGION_FULL_ACCESS;
  MPU_InitStruct.DisableExec = MPU_INSTRUCTION_ACCESS_ENABLE;
  MPU_InitStruct.IsShareable = MPU_ACCESS_NOT_SHAREABLE;
  MPU_InitStruct.IsCacheable = MPU_ACCESS_NOT_CACHEABLE;
  MPU_InitStruct.IsBufferable = MPU_ACCESS_NOT_BUFFERABLE;

  HAL_MPU_ConfigRegion(&MPU_InitStruct);

  /** Initializes and configures the Region and the memory to be protected
  */
  MPU_InitStruct.Number = MPU_REGION_NUMBER1;
  MPU_InitStruct.BaseAddress = 0x70000000 ;
  MPU_InitStruct.Size = MPU_REGION_SIZE_256MB;

  HAL_MPU_ConfigRegion(&MPU_InitStruct);
  /* Enables the MPU */
  HAL_MPU_Enable(MPU_HFNMI_PRIVDEF);

}

void HAL_TIM_PeriodElapsedCallback(TIM_HandleTypeDef *htim)
{
  if (htim->Instance == TIM4)
  {
    HAL_IncTick();
  }
}

void Error_Handler(void)
{
  /* USER CODE BEGIN Error_Handler_Debug */
  /* User can add his own implementation to report the HAL error return state */
  /* ★ 记下"是这里停的",否则它和 configASSERT / HardFault / 各种死循环在调试器里长得一样。
     谁调用它的:Core/Src 里各外设的 MX_xxx_Init()(HAL 返回非 HAL_OK 时)。
     断在这就把 g_fault_code 设个标记,再回上一帧看是哪个外设。
     ⚠️ 故意不自动复位:自动复位会把故障现场冲掉,调试阶段宁可停住。 */
  g_fault_code = 3u;
  __disable_irq();
  while (1)
  {
  }
  /* USER CODE END Error_Handler_Debug */
}
